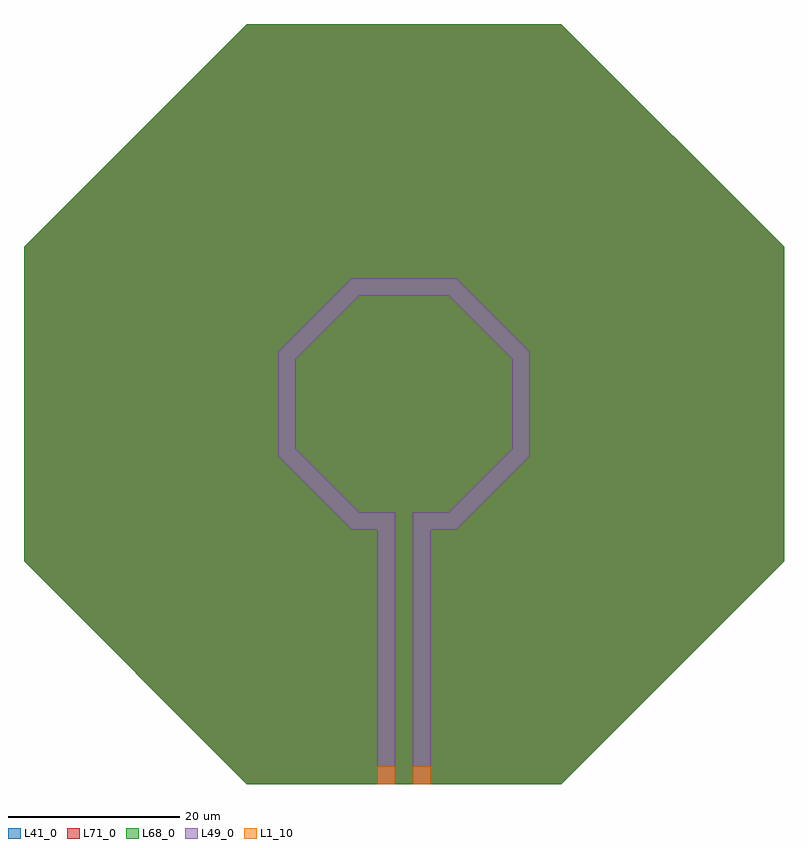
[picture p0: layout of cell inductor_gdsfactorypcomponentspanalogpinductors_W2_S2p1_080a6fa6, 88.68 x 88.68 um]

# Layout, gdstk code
import gdstk
lib = gdstk.Library(unit=1e-6, precision=1e-09)
def R(c, l, rs):  # rectangles x0, y0, x1, y1
    for r in rs: c.add(gdstk.rectangle(r[:2], r[2:], *l))
def P(c, l, *ps):  # polygons
    for p in ps: c.add(gdstk.Polygon(p, *l))
L1_10 = (1, 10)
L41_0 = (41, 0)
L49_0 = (49, 0)
L68_0 = (68, 0)
L71_0 = (71, 0)

rectangle_gdsfactorypcom = lib.new_cell('rectangle_gdsfactorypcomponentspshapesprectangle_S2p1_3_e7e1313e')
R(rectangle_gdsfactorypcom, L49_0, [(0,0,2.1,31.66)])

c_rectangle_gdsfactorypcom = lib.new_cell('rectangle_gdsfactorypcomponentspshapesprectangle_S2p1_2_6cdef846')
R(c_rectangle_gdsfactorypcom, L1_10, [(0,0,2.1,2.1)])

inductor_gdsfactorypcomp = lib.new_cell('inductor_gdsfactorypcomponentspanalogpinductors_W2_S2p1_080a6fa6')
P(inductor_gdsfactorypcomp, L41_0, [(-18.366,0),(-44.34,25.974),(-44.34,62.706),(-18.366,88.68),(18.366,88.68),(44.34,62.706),(44.34,25.974),(18.366,0)])
P(inductor_gdsfactorypcomp, L49_0, [(-6.07,29.685),(-14.655,38.27),(-14.655,50.41),(-6.07,58.995),(6.07,58.995),(14.655,50.41),(14.655,38.27),(6.07,29.685),(1.05,29.685),(1.05,31.685),(5.242,31.685),(12.655,39.098),(12.655,49.582),(5.242,56.995),(-5.242,56.995),(-12.655,49.582),(-12.655,39.098),(-5.242,31.685),(-1.05,31.685),(-1.05,29.685)])
P(inductor_gdsfactorypcomp, L68_0, [(-18.366,0),(-44.34,25.974),(-44.34,62.706),(-18.366,88.68),(18.366,88.68),(44.34,62.706),(44.34,25.974),(18.366,0)])
P(inductor_gdsfactorypcomp, L71_0, [(-18.366,0),(-44.34,25.974),(-44.34,62.706),(-18.366,88.68),(18.366,88.68),(44.34,62.706),(44.34,25.974),(18.366,0)])
inductor_gdsfactorypcomp.add(gdstk.Reference(rectangle_gdsfactorypcom, (-3.15,0)))
inductor_gdsfactorypcomp.add(gdstk.Reference(rectangle_gdsfactorypcom, (1.05,0)))
inductor_gdsfactorypcomp.add(gdstk.Reference(c_rectangle_gdsfactorypcom, (1.05,0)))
inductor_gdsfactorypcomp.add(gdstk.Reference(c_rectangle_gdsfactorypcom, (-3.15,0)))

lib.write_gds('inductor_gdsfactorypcomponentspanalogpinductors_W2_S2p1_080a6fa6.gds')
